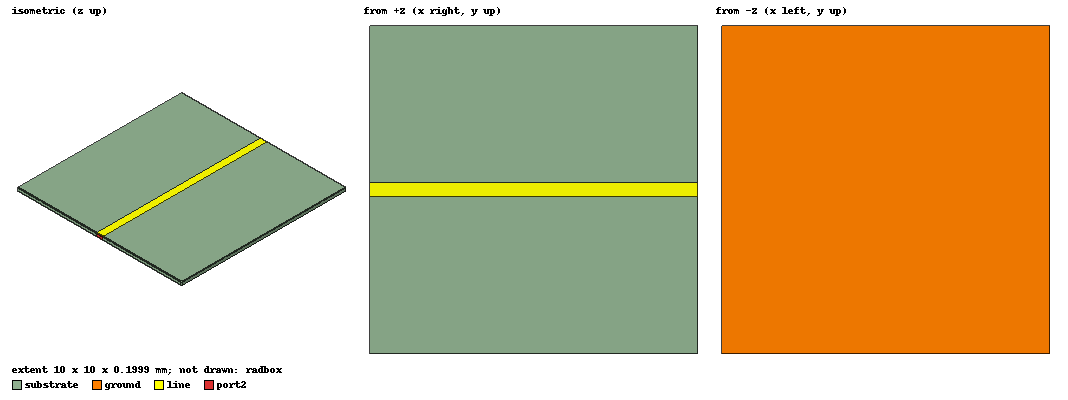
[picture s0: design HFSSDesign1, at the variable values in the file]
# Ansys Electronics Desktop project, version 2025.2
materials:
  vacuum: permittivity=1
  Isola FR408HR: permittivity=3.68 dielectric_loss_tangent=0.0092
  air: permittivity=1.0006 permeability=1.0000004

design HFSSDesign1 (HFSS, HFSS Terminal Network, model units mm)
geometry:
  ground = rectangle(corner=(0mm, 0mm, 0mm), x_size=10mm, y_size=10mm)
  substrate [Isola FR408HR] = box(corner=(0mm, 10mm, 0mm), size=(10mm, -10mm, 0.1999mm))
  line = rectangle(corner=(0mm, (5-0.2) mm, 0.1999mm), x_size=10mm, y_size=0.4mm)
  port1 = rectangle(corner=(0mm, 5.2mm, 0.1999mm), y_size=-0.4mm, z_size=-0.1999mm)
  port2 = rectangle(corner=(10mm, 4.8mm, 0.1999mm), y_size=0.4mm, z_size=-0.1999mm)
  radbox [air] = box(corner=(-10mm, -10mm, -10mm), size=(30mm, 30mm, 20mm))
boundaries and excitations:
  PerfE1: Perfect E Objects=[ground, line]
  Rad1: Radiation Objects=radbox
  1: Lumped Port Objects=port1 LumpedPortType=Modal Modes{Mode1{IntLine{(0, 5, 0.1999) -> (0, 5, 0)} CharImp=Zpi RenormImp=50ohm}} Impedance=50ohm
  2: Lumped Port Objects=port2 LumpedPortType=Modal Modes{Mode1{IntLine{(10, 5, 0.1999) -> (10, 5, 0)} CharImp=Zpi RenormImp=50ohm}} Impedance=50ohm
  reference conductors: ground
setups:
  Setup1: HfssDrivenAuto AutoSolverSetting=Balanced SaveAnyFields=false Type=Discrete
    sweep Sweep: 1GHz to 10GHz, 50 points;
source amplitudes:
  1:1: 1V 0deg
  2:1: 0V 0deg
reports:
  Terminal S Parameter Plot1: dB(St(1,1)), dB(St(2,1)), dB(St(1,2)), dB(St(2,2)) vs Freq on Setup1 : Sweep
  Terminal S Parameter Plot2: dB(St(1,1)) vs Freq on Setup1 : Sweep
  Terminal Z Parameter Plot1: dB20(Zt(1,1)) vs Freq on Setup1 : Sweep
